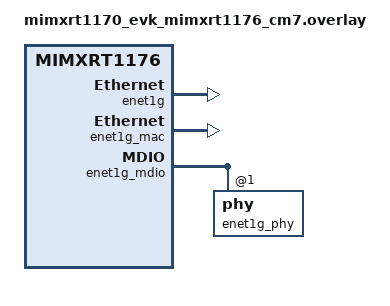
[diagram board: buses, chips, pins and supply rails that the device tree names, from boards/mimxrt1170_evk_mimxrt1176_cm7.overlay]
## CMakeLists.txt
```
# SPDX-License-Identifier: Apache-2.0

cmake_minimum_required(VERSION 3.28.0)

find_package(Zephyr REQUIRED HINTS $ENV{ZEPHYR_BASE})
project(bridge)

target_sources(app PRIVATE src/main.c)
```

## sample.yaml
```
sample:
  description: Test bridge functionality
  name: bridge sample app
common:
  harness: net
  tags:
    - net
tests:
  sample.net.bridge:
    build_only: true
    platform_allow:
      - native_sim
      - native_sim/native/64
      - mimxrt1180_evk/mimxrt1189/cm33
    depends_on: eth
```

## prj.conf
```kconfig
CONFIG_NETWORKING=y

CONFIG_NET_IPV6=y
CONFIG_NET_IPV4=y
CONFIG_NET_DHCPV4=y
CONFIG_NET_UDP=y
CONFIG_NET_TCP=y
CONFIG_NET_STATISTICS=y
CONFIG_NET_STATISTICS_USER_API=y
CONFIG_NET_LOG=y
CONFIG_NET_SHELL=y
CONFIG_NET_DSA=y

CONFIG_NET_PKT_RX_COUNT=64
CONFIG_NET_PKT_TX_COUNT=64

CONFIG_NET_BUF_RX_COUNT=128
CONFIG_NET_BUF_TX_COUNT=128

CONFIG_NET_IF_MAX_IPV4_COUNT=4
CONFIG_NET_IF_MAX_IPV6_COUNT=4

# Logging
CONFIG_LOG=y

# Ethernet bridge
CONFIG_ETH_DRIVER=y
CONFIG_NET_ETHERNET_BRIDGE=y
CONFIG_NET_ETHERNET_BRIDGE_FDB=y
CONFIG_NET_ETHERNET_BRIDGE_SHELL=y

# Ethernet management
CONFIG_NET_MGMT=y
CONFIG_NET_MGMT_EVENT=y
CONFIG_NET_MGMT_EVENT_STACK_SIZE=2048

CONFIG_TEST_RANDOM_GENERATOR=y
```

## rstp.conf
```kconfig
# Run the Rapid Spanning Tree Protocol on the bridge
CONFIG_NET_ETHERNET_BRIDGE_STP=y

# A Bridge Identifier that stays the same across reboots
CONFIG_HWINFO=y
CONFIG_NET_ETHERNET_BRIDGE_UNIQUE_MAC=y
```

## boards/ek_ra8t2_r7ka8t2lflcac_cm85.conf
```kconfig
CONFIG_NET_DSA=n
```

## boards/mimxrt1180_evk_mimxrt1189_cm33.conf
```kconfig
CONFIG_NET_ETHERNET_BRIDGE_ETH_INTERFACE_COUNT=5
CONFIG_NET_IF_MAX_IPV4_COUNT=8
CONFIG_NET_IF_MAX_IPV6_COUNT=8
```

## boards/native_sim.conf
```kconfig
CONFIG_ETH_NATIVE_TAP_INTERFACE_COUNT=2
```

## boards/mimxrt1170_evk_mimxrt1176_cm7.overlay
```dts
/*
 * SPDX-FileCopyrightText: Copyright The Zephyr Project Contributors
 * SPDX-License-Identifier: Apache-2.0
 */

/* Use both Ethernet ports: ENET (100 Mb/s) is enabled by the board, enable
 * ENET_1G next to it so that the bridge has two ports.
 */

&enet1g {
	status = "okay";
};

&enet1g_mac {
	status = "okay";
};

&enet1g_mdio {
	status = "okay";

	enet1g_phy: phy@1 {
		status = "okay";
	};
};
```

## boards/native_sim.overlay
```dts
/*
 * SPDX-FileCopyrightText: Copyright The Zephyr Project Contributors
 * SPDX-License-Identifier: Apache-2.0
 */

/* The bridge sample needs two TAP interfaces: zeth0 and zeth1. */

&zeth0 {
	host-interface = "zeth0";
};

/ {
	zeth1: zeth1 {
		compatible = "zephyr,native-tap";
		host-interface = "zeth1";
		zephyr,random-mac-address;
		zephyr,mac-address-prefix = [00 00 5e 00 53];
		status = "okay";
	};
};
```

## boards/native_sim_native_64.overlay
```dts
/*
 * Copyright (c) 2026 The Zephyr Project Contributors
 *
 * SPDX-License-Identifier: Apache-2.0
 */

#include "native_sim.overlay"
```

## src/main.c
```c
/*
 * SPDX-FileCopyrightText: Copyright 2025 NXP
 *
 * SPDX-License-Identifier: Apache-2.0
 */

#include <zephyr/logging/log.h>
LOG_MODULE_REGISTER(net_bridge_sample, CONFIG_NET_L2_ETHERNET_LOG_LEVEL);

#include <zephyr/net/ethernet_bridge.h>
#include <zephyr/net/ethernet_bridge_stp.h>

struct ud {
	struct net_if *bridge;
	struct net_if *iface[CONFIG_NET_ETHERNET_BRIDGE_ETH_INTERFACE_COUNT];
#if defined(CONFIG_NET_MGMT_EVENT) && defined(CONFIG_NET_DHCPV4)
	struct net_mgmt_event_callback mgmt_cb;
#endif
};

struct ud g_user_data = {0};

static void bridge_find_cb(struct eth_bridge_iface_context *br, void *user_data)
{
	struct ud *u = user_data;

	if (u->bridge == NULL) {
		u->bridge = br->iface;
		LOG_INF("Find bridge iface %d.", net_if_get_by_iface(br->iface));
	}
}

static void bridge_add_iface_cb(struct net_if *iface, void *user_data)
{
#if defined(CONFIG_NET_DSA)
	struct ethernet_context *eth_ctx;
#endif
	struct ud *u = user_data;
	int i;
	int ret;

	for (i = 0; i < CONFIG_NET_ETHERNET_BRIDGE_ETH_INTERFACE_COUNT; i++) {
		if (u->iface[i] == NULL) {
			break;
		}
	}

	if (i == CONFIG_NET_ETHERNET_BRIDGE_ETH_INTERFACE_COUNT) {
		return;
	}

	if (net_if_l2(iface) != &NET_L2_GET_NAME(ETHERNET)) {
		return;
	}

#if defined(CONFIG_NET_DSA)
	eth_ctx = net_if_l2_data(iface);

	if (eth_ctx->dsa_port == DSA_USER_PORT || eth_ctx->dsa_port == NON_DSA_PORT) {
		u->iface[i] = iface;
	}
#else
	u->iface[i] = iface;
#endif
	LOG_INF("Find iface %d. Add into bridge.", net_if_get_by_iface(iface));

	ret = eth_bridge_iface_add(u->bridge, iface);
	if (ret < 0) {
		LOG_ERR("eth_bridge_iface_add failed: %d", ret);
	}
}

#if defined(CONFIG_NET_MGMT_EVENT) && defined(CONFIG_NET_DHCPV4)
static void event_handler(struct net_mgmt_event_callback *cb, uint64_t mgmt_event,
			  struct net_if *iface)
{
	struct ethernet_context *eth_ctx;

	ARG_UNUSED(cb);

	if (net_if_l2(iface) != &NET_L2_GET_NAME(ETHERNET)) {
		return;
	}

	eth_ctx = net_if_l2_data(iface);

	if (net_eth_iface_is_bridged(eth_ctx) && mgmt_event == NET_EVENT_IF_UP) {
		net_dhcpv4_restart(net_eth_get_bridge(eth_ctx));
		return;
	}
}
#endif

int main(void)
{
	struct ud *u = &g_user_data;

	net_eth_bridge_foreach(bridge_find_cb, u);
	net_if_foreach(bridge_add_iface_cb, u);
	net_if_up(u->bridge);

	if (IS_ENABLED(CONFIG_NET_ETHERNET_BRIDGE_STP)) {
		int ret = eth_bridge_stp_enable(u->bridge, true);

		if (ret < 0) {
			LOG_ERR("eth_bridge_stp_enable failed: %d", ret);
		} else {
			LOG_INF("Spanning tree started on bridge %d.",
				net_if_get_by_iface(u->bridge));
		}
	}

#if defined(CONFIG_NET_MGMT_EVENT) && defined(CONFIG_NET_DHCPV4)
	net_mgmt_init_event_callback(&u->mgmt_cb, event_handler, NET_EVENT_IF_UP);
	net_mgmt_add_event_callback(&u->mgmt_cb);
#endif
	return 0;
}
```
